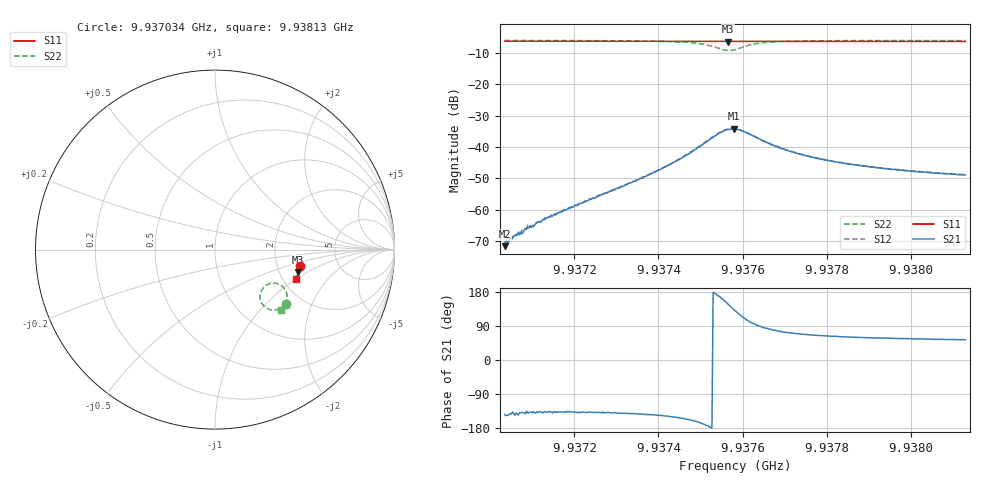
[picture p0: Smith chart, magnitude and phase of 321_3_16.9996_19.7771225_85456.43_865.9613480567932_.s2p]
#  HZ  S  RI  R  50.00
! Rohde & Schwarz Vector Network Analyzer
! Rohde-Schwarz,ZNB20-2Port,1311601062101988,3.16
! Created: UTC 3/20/2024, 11:06:26 PM
! freq[Hz]  re:S11  im:S11  re:S21  im:S21  re:S12  im:S12  re:S22  im:S22
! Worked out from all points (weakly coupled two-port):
!   401 points, 9.937034 GHz to 9.93813 GHz, reference 50 ohm
!   highest |S21| = -34.18 dB at 9.937579 GHz (marker M1); lowest = -71.6 dB at 9.937034 GHz (marker M2)
!   lowest |S11| = -6.4 dB at 9.937566 GHz (marker M3), VSWR 2.85, Z = 127 - j41.1 ohm
!   |S11| at or under -10 dB: nowhere
!   |S22| runs from -9.3 to -6.0 dB; largest |S21 - S12| = 0.00084
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9.9370338e9  0.476 -0.0902  -0.000213 -0.000153  -0.000248 -0.000161  0.3971 -0.3017
9.937053e9  0.4757 -0.0916  -0.000273 -0.000257  -0.000275 -0.000228  0.3958 -0.3031
9.9370749e9  0.4753 -0.093  -0.000309 -0.000276  -0.000345 -0.000323  0.3942 -0.3045
9.9370886e9  0.4752 -0.094  -0.00039 -0.000331  -0.000433 -0.000367  0.3933 -0.3055
9.9371023e9  0.4749 -0.0949  -0.000388 -0.000369  -0.000448 -0.000359  0.392 -0.3064
9.937138e9  0.4743 -0.0972  -0.000545 -0.000527  -0.000568 -0.000491  0.3893 -0.3091
9.9371489e9  0.4739 -0.098  -0.000611 -0.000519  -0.000628 -0.000561  0.3885 -0.3102
9.9372175e9  0.4727 -0.1026  -0.000954 -0.000842  -0.000947 -0.00088  0.3823 -0.3155
9.9374012e9  0.4688 -0.1151  -0.00353 -0.00241  -0.00366 -0.00237  0.3506 -0.3333
9.9374533e9  0.4675 -0.1186  -0.00583 -0.00293  -0.00604 -0.0029  0.3289 -0.337
9.9375081e9  0.4658 -0.1224  -0.0111 -0.00211  -0.0114 -0.00192  0.2856 -0.3248
9.9375465e9  0.4643 -0.1243  -0.0164 0.00395  -0.0165 0.00453  0.2516 -0.2686
9.9375657e9  0.4635 -0.1248  -0.0159 0.0102  -0.016 0.0108  0.2634 -0.2209
9.9375794e9  0.4636 -0.1251  -0.0133 0.0143  -0.0129 0.0147  0.2915 -0.1953
9.9375821e9  0.4636 -0.1252  -0.0125 0.0147  -0.0121 0.0153  0.2984 -0.1921
9.9375986e9  0.4637 -0.1259  -0.00756 0.0163  -0.00743 0.0168  0.3386 -0.1877
9.9376397e9  0.4638 -0.1287  6.31e-05 0.0135  0.000443 0.0135  0.3921 -0.2253
9.9376973e9  0.463 -0.133  0.00254 0.00887  0.00278 0.00896  0.4018 -0.2673
9.9377658e9  0.4614 -0.1377  0.00277 0.00627  0.00294 0.00626  0.3965 -0.2915
9.9378618e9  0.4591 -0.1441  0.00261 0.00455  0.00269 0.00453  0.3876 -0.3094
9.9379495e9  0.4569 -0.1498  0.00241 0.00375  0.00251 0.00373  0.3807 -0.3197
9.9381305e9  0.4523 -0.1616  0.00215 0.00286  0.00222 0.00289  0.3681 -0.3344
